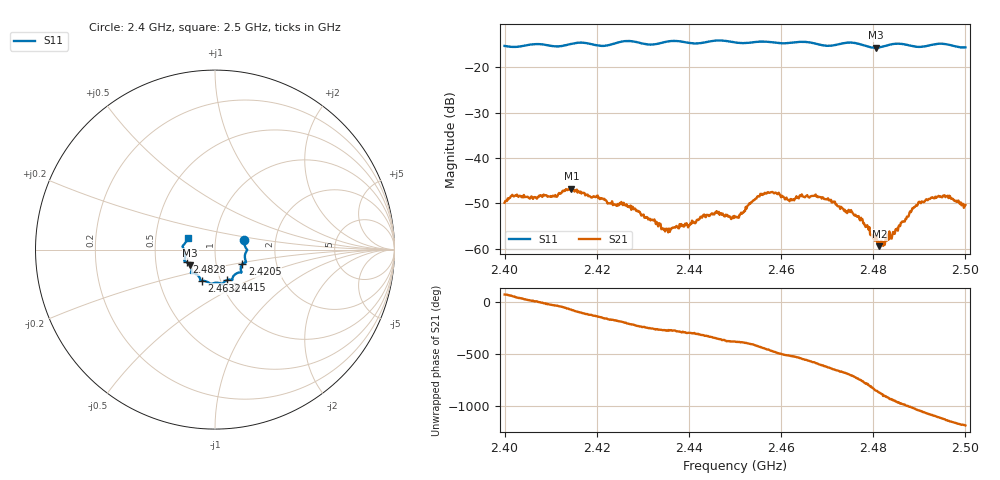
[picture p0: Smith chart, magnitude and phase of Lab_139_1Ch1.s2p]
# Hz S RI R
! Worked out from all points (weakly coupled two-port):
!   601 points, 2.4 GHz to 2.5 GHz, reference 50 ohm
!   highest |S21| = -46.75 dB at 2.4145 GHz (marker M1); lowest = -59.5 dB at 2.4813 GHz (marker M2)
!   lowest |S11| = -15.7 dB at 2.4805 GHz (marker M3), VSWR 1.39, Z = 37.3 - j6.68 ohm
!   |S11| at or under -10 dB: start of sweep to end of sweep
!   S12 and S22 are empty: the file has one direction only
!   S11 on the Smith chart (normalised r, x): 2.4 GHz: 1.38, +0.15; 2.4205 GHz: 1.34, -0.23; 2.4415 GHz: 1.07, -0.38; 2.4632 GHz: 0.82, -0.29; 2.4828 GHz: 0.72, -0.10; 2.5 GHz: 0.73, +0.10
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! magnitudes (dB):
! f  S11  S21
! 2.4 GHz  -15.3  -49.9
! 2.4018 GHz  -15.5  -48.4
! 2.4145 GHz  -14.8  -46.8
! 2.4167 GHz  -14.6  -47.9
! 2.4205 GHz  -15.2  -48.7
! 2.4278 GHz  -14.3  -50.8
! 2.4333 GHz  -14.8  -55.1
! 2.4353 GHz  -14.3  -55.7
! 2.4415 GHz  -14.8  -54.2
! 2.446 GHz  -14.1  -51.7
! 2.45 GHz  -14.5  -53.1
! 2.456 GHz  -14.3  -48.2
! 2.4632 GHz  -14.5  -48.9
! 2.4667 GHz  -14.6  -48.4
! 2.4752 GHz  -14.6  -51.5
! 2.4805 GHz  -15.7  -57.3
! 2.4813 GHz  -15.6  -59.5
! 2.4828 GHz  -15.2  -57.8
! 2.4833 GHz  -15.1  -58.0
! 2.4903 GHz  -15.5  -50.0
! 2.4957 GHz  -14.9  -48.6
! 2.5 GHz  -15.6  -50.4
